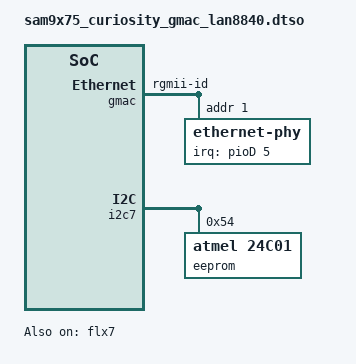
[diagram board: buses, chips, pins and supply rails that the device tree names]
// SPDX-License-Identifier: (GPL-2.0+ OR MIT)
/*
 * Device Tree file for SAM9X75 CURIOSITY board overlay blob for the LAN8840 RGMII PHY Daughter Card.
 *
 * Copyright (C) 2023 Microchip Technology Inc. and its subsidiaries
 *
 * Author: Mihai Sain <mihai.sain@microchip.com>
 *
 */
/dts-v1/;
/plugin/;

#include <dt-bindings/gpio/gpio.h>
#include <dt-bindings/interrupt-controller/irq.h>
#include <dt-bindings/mfd/atmel-flexcom.h>
#include <dt-bindings/pinctrl/at91.h>

&flx7 {
	atmel,flexcom-mode = <ATMEL_FLEXCOM_MODE_TWI>;
	status = "okay";
};

&gmac {
	phy-mode = "rgmii-id";
	#address-cells = <1>;
	#size-cells = <0>;
	pinctrl-names = "default";
	pinctrl-0 = <&pinctrl_gmac_rgmii_default>;
	magic-packet;
	status = "okay";

	ethernet-phy@1 {
		reg = <0x1>;
		interrupt-parent = <&pioD>;
		interrupts = <5 IRQ_TYPE_LEVEL_LOW>;
	};
};

&i2c7 {
	#address-cells = <1>;
	#size-cells = <0>;
	pinctrl-names = "default";
	pinctrl-0 = <&pinctrl_flx7_twi_default>;
	i2c-analog-filter;
	i2c-digital-filter;
	i2c-digital-filter-width-ns = <35>;
	dmas = <0>, <0>;
	status = "okay";

	eeprom@54 {
		compatible = "atmel,24c01";
		reg = <0x54>;
		pagesize = <8>;
		status = "okay";
	};
};

&pinctrl {
	flexcom {
		pinctrl_flx7_twi_default: flx7-twi-default {
			atmel,pins =
				<AT91_PIOC 0 AT91_PERIPH_C AT91_PINCTRL_PULL_UP
				 AT91_PIOC 1 AT91_PERIPH_C AT91_PINCTRL_PULL_UP>;
		};
	};

	gmac {
		pinctrl_gmac_rgmii_default: gmac-rgmii-default {
			atmel,pins =
				<AT91_PIOB 13 AT91_PERIPH_A  AT91_PINCTRL_SLEWRATE_DIS				/* ETH_TX0   */
				 AT91_PIOB 14 AT91_PERIPH_A  AT91_PINCTRL_SLEWRATE_DIS				/* ETH_TX1   */
				 AT91_PIOB 4  AT91_PERIPH_A  AT91_PINCTRL_SLEWRATE_DIS				/* ETH_TX2   */
				 AT91_PIOB 5  AT91_PERIPH_A  AT91_PINCTRL_SLEWRATE_DIS				/* ETH_TX3   */
				 AT91_PIOB 7  AT91_PERIPH_A  AT91_PINCTRL_SLEWRATE_DIS				/* ETH_TXCTL  */
				 AT91_PIOB 6  AT91_PERIPH_A (AT91_PINCTRL_PULL_UP | AT91_PINCTRL_SLEWRATE_DIS)	/* ETH_TXCK  */

				 AT91_PIOB 11 AT91_PERIPH_A  AT91_PINCTRL_SLEWRATE_DIS				/* ETH_RX0   */
				 AT91_PIOB 12 AT91_PERIPH_A  AT91_PINCTRL_SLEWRATE_DIS				/* ETH_RX1   */
				 AT91_PIOB 0  AT91_PERIPH_A  AT91_PINCTRL_SLEWRATE_DIS				/* ETH_RX2   */
				 AT91_PIOB 1  AT91_PERIPH_A  AT91_PINCTRL_SLEWRATE_DIS				/* ETH_RX3   */
				 AT91_PIOB 8  AT91_PERIPH_A  AT91_PINCTRL_SLEWRATE_DIS				/* ETH_RXCK   */
				 AT91_PIOB 3  AT91_PERIPH_A  AT91_PINCTRL_SLEWRATE_DIS				/* ETH_RXCTL */

				 AT91_PIOB 10 AT91_PERIPH_A  AT91_PINCTRL_NONE					/* ETH_MDC   */
				 AT91_PIOB 9  AT91_PERIPH_A  AT91_PINCTRL_NONE					/* ETH_MDIO  */

				 AT91_PIOB 2  AT91_PERIPH_A  AT91_PINCTRL_SLEWRATE_DIS				/* ETH_125CK */
				 AT91_PIOD 5  AT91_PERIPH_GPIO  AT91_PINCTRL_NONE>;				/* ETH_INT   */
		};
	};
};

&{/} {
	model = "SAM9X75-Curiosity: LAN8840 RGMII PHY Daughter Card";
};
